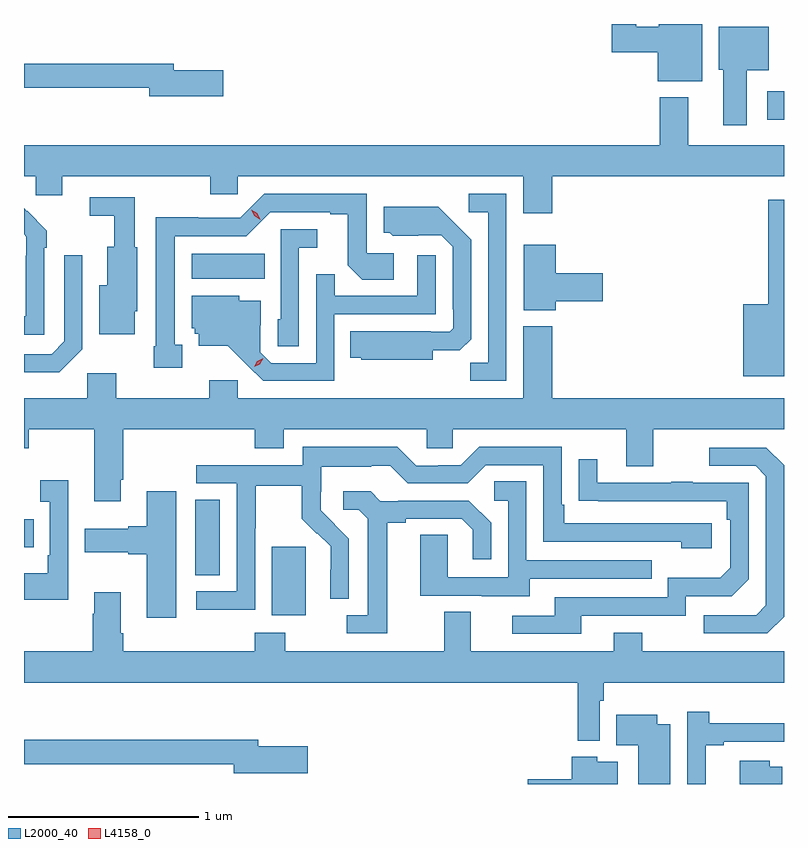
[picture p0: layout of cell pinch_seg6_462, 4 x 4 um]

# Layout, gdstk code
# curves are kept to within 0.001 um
import gdstk
lib = gdstk.Library(unit=1e-6, precision=1e-09)
def R(c, l, rs):  # rectangles x0, y0, x1, y1
    for r in rs: c.add(gdstk.rectangle(r[:2], r[2:], *l))
def P(c, l, *ps):  # polygons
    for p in ps: c.add(gdstk.Polygon(p, *l))
L2000_40 = (2000, 40)
L4158_0 = (4158, 0)

pinch_seg6_462 = lib.new_cell('pinch_seg6_462')
R(pinch_seg6_462, L2000_40, [(760.061,921.05,760.24,921.411), (759.656,921.262,759.787,921.659), (758.756,921.407,758.807,921.555), (759.638,922.82,760.022,922.954), (762.669,923.657,762.756,923.809)])
P(pinch_seg6_462, L2000_40, [(762.325,924.162),(762.096,924.162),(762.096,924.148),(761.979,924.148),(761.979,924.161),(761.85,924.161),(761.85,924.014),(762.092,924.014),(762.092,923.861),(762.325,923.861)],
  [(762.559,923.918),(762.676,923.918),(762.676,924.148),(762.413,924.148),(762.413,923.922),(762.437,923.922),(762.437,923.628),(762.559,923.628)],
  [(759.805,923.918),(759.544,923.918),(759.544,923.954),(758.756,923.954),(758.756,923.826),(759.416,923.826),(759.416,923.783),(759.805,923.783)],
  [(761.537,923.36),(762.756,923.36),(762.756,923.524),(762.253,923.524),(762.253,923.776),(762.101,923.776),(762.101,923.524),(758.756,923.524),(758.756,923.36),(758.817,923.36),(758.817,923.262),(758.956,923.262),(758.956,923.36),(759.736,923.36),(759.736,923.267),(759.882,923.267),(759.882,923.36),(761.384,923.36),(761.384,923.166),(761.537,923.166)],
  [(761.295,923.268),(761.097,923.268),(761.097,923.172),(761.199,923.172),(761.199,922.379),(761.104,922.379),(761.104,922.284),(761.295,922.284)],
  [(759.589,922.473),(759.55,922.473),(759.55,923.046),(759.927,923.046),(760.053,923.172),(760.367,923.172),(760.367,923.16),(760.461,923.16),(760.461,922.892),(760.537,922.816),(760.702,922.816),(760.702,922.956),(760.56,922.956),(760.56,923.268),(760.02,923.268),(759.894,923.142),(759.672,923.142),(759.672,923.144),(759.449,923.144),(759.449,922.465),(759.439,922.465),(759.439,922.353),(759.589,922.353)],
  [(759.34,922.65),(759.352,922.65),(759.352,922.986),(759.339,922.986),(759.339,923.25),(759.102,923.25),(759.102,923.153),(759.231,923.153),(759.231,922.99),(759.194,922.99),(759.194,922.786),(759.152,922.786),(759.152,922.529),(759.34,922.529)],
  [(762.756,923.236),(762.672,923.236),(762.672,922.687),(762.542,922.687),(762.542,922.307),(762.756,922.307)],
  [(760.906,922.445),(761.05,922.445),(761.109,922.504),(761.109,923.026),(760.937,923.2),(760.649,923.2),(760.649,923.064),(760.68,923.064),(760.696,923.048),(760.953,923.049),(761.013,922.989),(761.013,922.66),(761.016,922.66),(761.016,922.56),(760.998,922.542),(760.898,922.542),(760.898,922.546),(760.474,922.546),(760.474,922.406),(760.53,922.406),(760.53,922.394),(760.906,922.394)],
  [(758.862,922.985),(758.877,922.985),(758.877,923.073),(758.772,923.178),(758.771,923.177),(758.756,923.192),(758.756,923.056),(758.769,923.043),(758.769,922.943),(758.766,922.943),(758.766,922.623),(758.756,922.623),(758.756,922.527),(758.862,922.527)],
  [(760.203,922.985),(760.3,922.985),(760.3,923.082),(760.107,923.082),(760.107,922.608),(760.092,922.608),(760.092,922.465),(760.203,922.465)],
  [(761.554,922.703),(761.803,922.703),(761.803,922.85),(761.554,922.85),(761.554,922.999),(761.387,922.999),(761.387,922.655),(761.554,922.655)],
  [(759.063,922.449),(759.063,922.945),(758.967,922.945),(758.967,922.491),(758.901,922.425),(758.756,922.425),(758.756,922.328),(758.942,922.328)],
  [(760.389,922.635),(760.923,922.635),(760.923,922.945),(760.827,922.945),(760.827,922.731),(760.391,922.731),(760.391,922.844),(760.293,922.844),(760.293,922.377),(760.056,922.377),(759.999,922.434),(759.999,922.576),(760.003,922.576),(760.003,922.705),(759.888,922.705),(759.888,922.732),(759.638,922.732),(759.638,922.56),(759.654,922.56),(759.654,922.533),(759.677,922.533),(759.677,922.469),(759.829,922.469),(760.016,922.284),(760.389,922.284)],
  [(759.265,921.763),(759.278,921.763),(759.278,922.028),(759.971,922.028),(759.971,921.929),(760.123,921.929),(760.123,922.028),(760.875,922.028),(760.875,921.93),(761.013,921.93),(761.013,922.028),(761.927,922.028),(761.927,921.834),(762.067,921.834),(762.067,922.028),(762.756,922.028),(762.756,922.192),(761.537,922.192),(761.537,922.57),(761.384,922.57),(761.384,922.192),(759.882,922.192),(759.882,922.288),(759.731,922.288),(759.731,922.192),(759.242,922.192),(759.242,922.324),(759.09,922.324),(759.09,922.192),(758.756,922.192),(758.756,921.929),(758.781,921.929),(758.781,922.028),(759.125,922.028),(759.125,921.651),(759.265,921.651)],
  [(759.972,921.508),(759.975,921.508),(759.975,921.732),(760.219,921.732),(760.219,921.557),(760.296,921.48),(760.299,921.483),(760.37,921.413),(760.37,921.29),(760.368,921.29),(760.368,921.136),(760.464,921.136),(760.464,921.454),(760.318,921.602),(760.318,921.699),(760.32,921.699),(760.32,921.833),(760.583,921.833),(760.583,921.837),(760.683,921.837),(760.776,921.744),(761.091,921.744),(761.187,921.84),(761.49,921.84),(761.49,921.438),(762.215,921.438),(762.215,921.404),(762.376,921.404),(762.376,921.534),(761.599,921.534),(761.599,921.631),(761.586,921.631),(761.586,921.936),(761.151,921.936),(761.055,921.84),(760.937,921.84),(760.937,921.837),(760.821,921.837),(760.721,921.937),(760.224,921.937),(760.224,921.84),(759.663,921.84),(759.663,921.744),(759.876,921.744),(759.876,921.177),(759.663,921.177),(759.663,921.079),(759.972,921.079)],
  [(762.756,921.042),(762.756,921.84),(762.663,921.933),(762.363,921.933),(762.363,921.837),(762.606,921.837),(762.66,921.783),(762.66,921.102),(762.609,921.051),(762.333,921.051),(762.333,920.955),(762.669,920.955)],
  [(761.689,921.048),(762.24,921.048),(762.24,921.15),(762.48,921.15),(762.57,921.24),(762.57,921.747),(762.275,921.747),(762.275,921.752),(762.163,921.752),(762.163,921.747),(761.773,921.747),(761.773,921.871),(761.677,921.871),(761.677,921.652),(762.454,921.651),(762.454,921.554),(762.474,921.554),(762.474,921.3),(762.421,921.247),(762.144,921.247),(762.144,921.144),(761.549,921.144),(761.549,921.048),(761.325,921.048),(761.325,920.952),(761.689,920.952)],
  [(758.988,921.76),(758.841,921.76),(758.841,921.647),(758.892,921.647),(758.892,921.367),(758.88,921.367),(758.88,921.271),(758.756,921.271),(758.756,921.131),(758.988,921.131)],
  [(761.419,921.243),(762.059,921.243),(762.059,921.339),(761.4,921.339),(761.4,921.755),(761.232,921.755),(761.232,921.654),(761.304,921.654),(761.304,921.249),(760.986,921.249),(760.986,921.473),(760.841,921.473),(760.841,921.153),(761.165,921.153),(761.165,921.149),(761.419,921.149)],
  [(760.669,921.536),(760.765,921.536),(760.765,921.558),(761.06,921.558),(761.117,921.501),(761.117,921.345),(761.214,921.345),(761.214,921.538),(761.098,921.654),(760.726,921.654),(760.726,921.651),(760.632,921.651),(760.58,921.703),(760.437,921.703),(760.437,921.606),(760.518,921.606),(760.565,921.559),(760.565,921.051),(760.455,921.051),(760.455,920.955),(760.669,920.955)],
  [(759.556,921.703),(759.401,921.703),(759.401,921.518),(759.305,921.518),(759.305,921.505),(759.075,921.505),(759.075,921.383),(759.305,921.383),(759.305,921.371),(759.401,921.371),(759.401,921.036),(759.556,921.036)],
  [(761.787,920.6),(761.807,920.6),(761.807,920.696),(762.756,920.696),(762.756,920.86),(762.009,920.86),(762.009,920.959),(761.861,920.959),(761.861,920.86),(761.107,920.86),(761.107,921.068),(760.967,921.068),(760.967,920.86),(760.131,920.86),(760.131,920.959),(759.971,920.959),(759.971,920.86),(759.278,920.86),(759.278,920.956),(759.265,920.956),(759.265,921.172),(759.125,921.172),(759.125,921.059),(759.118,921.059),(759.118,920.86),(758.756,920.86),(758.756,920.696),(761.671,920.696),(761.671,920.39),(761.787,920.39)],
  [(762.344,920.365),(762.439,920.365),(762.439,920.385),(762.756,920.385),(762.756,920.483),(762.362,920.483),(762.362,920.542),(762.246,920.542),(762.246,920.162),(762.344,920.162)],
  [(762.157,920.476),(762.088,920.476),(762.088,920.527),(761.872,920.527),(761.872,920.366),(761.99,920.366),(761.99,920.162),(762.157,920.162)],
  [(760.249,920.361),(759.988,920.361),(759.988,920.395),(758.756,920.395),(758.756,920.266),(759.86,920.266),(759.86,920.219),(760.249,920.219)],
  [(761.881,920.278),(761.772,920.278),(761.772,920.305),(761.639,920.305),(761.639,920.186),(761.406,920.186),(761.406,920.162),(761.881,920.162)],
  [(762.748,920.254),(762.682,920.254),(762.682,920.284),(762.524,920.284),(762.524,920.162),(762.748,920.162)])
P(pinch_seg6_462, L4158_0, [(759.967,922.357),(759.967,922.357),(759.984,922.386),(760.015,922.402),(760.015,922.402),(760.015,922.402),(759.998,922.372),(759.967,922.357)],
  [(760,923.132),(759.968,923.152),(759.951,923.185),(759.951,923.185),(759.952,923.185),(759.983,923.166),(760,923.133),(760,923.132)])

lib.write_gds('pinch_seg6_462.gds')
